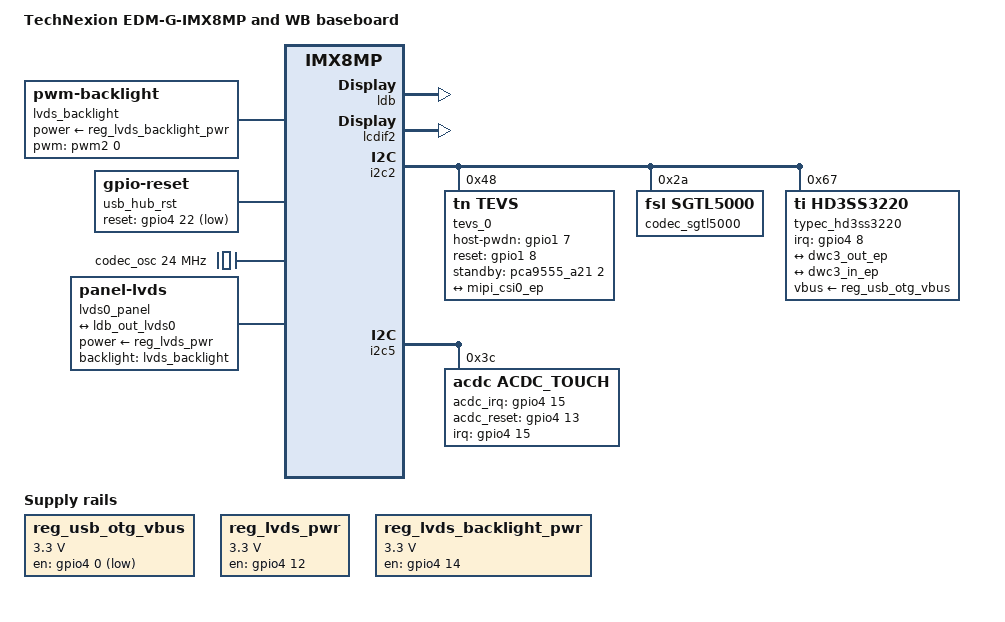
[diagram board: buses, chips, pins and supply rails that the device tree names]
// SPDX-License-Identifier: (GPL-2.0+ OR MIT)
/*
 * Copyright 2020 Technexion Ltd.
 *
 * Author: Ray Chang <ray.chang@technexion.com>
 *
 */

/dts-v1/;
#include <dt-bindings/phy/phy-imx8-pcie.h>
#include "imx8mp-edm-g.dtsi"

/ {
	model = "TechNexion EDM-G-IMX8MP and WB baseboard";
	compatible = "fsl,imx8mp-edmg", "fsl,imx8mp";

	reg_usb_otg_vbus: usb_otg_vbus {
		pinctrl-names = "default";
		pinctrl-0 = <&pinctrl_otg_vbus>;
		compatible = "regulator-fixed";
		regulator-name = "usb_otg_vbus";
		regulator-min-microvolt = <3300000>;
		regulator-max-microvolt = <3300000>;
		gpio = <&gpio4 0 GPIO_ACTIVE_LOW>;
		enable-active-low;
	};

	reg_lvds_pwr: regulator_lvdspwr {
		pinctrl-names = "default";
		pinctrl-0 = <&pinctrl_lvds0_pwr>;
		compatible = "regulator-fixed";
		regulator-name = "lvds0_vdden";
		regulator-min-microvolt = <3300000>;
		regulator-max-microvolt = <3300000>;
		gpio = <&gpio4 12 GPIO_ACTIVE_HIGH>;
		enable-active-high;
		status = "okay";
	};

	reg_lvds_backlight_pwr: regulator_lvdsblpwr {
		pinctrl-names = "default";
		pinctrl-0 = <&pinctrl_lvds0_backlight_pwr>;
		compatible = "regulator-fixed";
		regulator-name = "lvds0_bl_en";
		regulator-min-microvolt = <3300000>;
		regulator-max-microvolt = <3300000>;
		gpio = <&gpio4 14 GPIO_ACTIVE_HIGH>;
		enable-active-high;
		regulator-always-on;
		status = "okay";
	};

	lvds_backlight: lvds_backlight {
		compatible = "pwm-backlight";
		pwms = <&pwm2 0 50000 0>;
        brightness-levels = <0 1 2 3 4 5 6 7 8 9 10 11 12 13 14 15 16 17 18 19 20
                             21 22 23 24 25 26 27 28 29 30 31 32 33 34 35 36 37 38
                             39 40 41 42 43 44 45 46 47 48 49 50 51 52 53 54 55 56
                             57 58 59 60 61 62 63 64 65 66 67 68 69 70 71 72 73 74
                             75 76 77 78 79 80 81 82 83 84 85 86 87 88 89 90 91 92
                             93 94 95 96 97 98 99 100>;
        default-brightness-level = <80>;
    	power-supply = <&reg_lvds_backlight_pwr>;

		status = "okay";
	};

	//EDM only
	usb_hub_rst: usb_hub_rst {
		compatible = "gpio-reset";
		pinctrl-names = "default";
		pinctrl-0 = <&pinctrl_usb_hub_ctrl>;
		reset-gpios = <&gpio4 22 GPIO_ACTIVE_LOW>;
		reset-delay-us = <10>;
		#reset-cells = <0>;
	};

	sound_sgtl5000 {
			compatible = "fsl,sgtl5000", "fsl,imx-audio-sgtl5000";
			model = "sgtl5000";
			codec-master;
			ssi-controller = <&sai2>;
			audio-codec = <&codec_sgtl5000>;
			audio-routing =
					"MIC_IN", "Mic Jack",
					"Mic Jack", "Mic Bias",
					"Headphone Jack", "HP_OUT";
			no-audmux;
	};


	clocks {
		codec_osc: aud_mclk {
			compatible = "fixed-clock";
			#clock-cells = <0>;
			clock-frequency = <24000000>;
			clock-output-names = "wm8960-mclk";
		};
	};


	lvds0_panel: lvds_panel  {
		compatible = "panel-lvds", "fsl,dual-channel", "auo,g156han02.3";
		status = "okay";

		backlight = <&lvds_backlight>;
		power-supply = <&reg_lvds_pwr>;
        
		data-mapping = "vesa-24";
		
		panel-type   = "lvds";
        width-mm = <364>;
        height-mm = <194>;

		split-mode;

		panel-timing {
			clock-frequency = <141750000>;
			hactive = <1920>;
			vactive = <1080>;
			hfront-porch = <40>;
			hback-porch = <100>;
			hsync-len = <10>;	
			vfront-porch = <3>;			
			vback-porch = <30>;
			vsync-len = <2>;	

			hsync-active = <0>;
			vsync-active = <0>;
			de-active = <1>;
			pixelclk-active = <1>;
		};		

		port {
			lvds0_panel_in: endpoint {
				remote-endpoint = <&ldb_out_lvds0>;
			};
		};
	};
};

&ldb {
	status = "okay";

    fsl,dual-channel;

	lvds-channel@0 {
		reg = <0>;
		panel = <&lvds0_panel>; 

		#address-cells = <1>;
		#size-cells = <0>;
		fsl,data-mapping = "spwg";
		fsl,data-width = <24>;
		status = "okay";

		port@1 {
			reg = <1>;

			ldb_out_lvds0: endpoint {
				remote-endpoint = <&lvds0_panel_in>;
			};
		};
	};
};

&lcdif1 {
	status = "disabled";
};

&lcdif2 
{
	status = "okay";
};

//hdmi
&lcdif3 {
	status = "disabled";
};

&gpio1 {
	pinctrl-0 = <&pinctrl_gpio1>;
	gpio-line-names =	\
		"", "PCIE_RST", "", "PMIC_nINT", "", "", "", "csi0_pwn",	\
		"csi0_rst", "ETH_Reset", "", "", "ETH_INT", "PCIE_CLKREQ", "", "",	\
		"", "", "", "", "", "", "", "",	\
		"", "", "", "", "", "", "", "";
};

&gpio2 {
	pinctrl-0 = <&pinctrl_gpio2>;
	gpio-line-names =	\
		"", "", "", "", "", "", "", "",	\
		"", "", "", "", "CD", "", "", "",	\
		"", "", "", "VSD_3V3", "", "", "", "",	\
		"", "", "", "", "", "", "", "";
};

&gpio3 {
	pinctrl-0 = <&pinctrl_gpio3>;
	gpio-line-names =	\
		"", "", "", "", "", "", "", "",	\
		"", "", "", "", "", "", "", "",	\
		"", "", "", "", "", "", "", "",	\
		"", "", "", "", "", "", "", "";
};

&gpio4 {
	pinctrl-0 = <&pinctrl_gpio4>;
	gpio-line-names =	\
		"USB_OTG_PWR_EN", "", "", "", "", "", "", "",	\
		"", "", "", "", "LVDS0_VDDEN", "TOUCH_RST", "LVDS0_BL_EN", "TOUCH_INT",	\
		"DSI_BL_EN", "DSI_VDDEN", "", "", "", "PCIE_WAKE", "", "",	\
		"", "", "", "", "", "", "", "";
};

&gpio5 {
	pinctrl-0 = <&pinctrl_gpio5>;
	gpio-line-names =	\
		"", "", "", "", "", "", "", "",	\
		"", "", "", "", "", "", "", "",	\
		"", "", "", "", "", "", "", "",	\
		"", "", "", "", "", "", "", "";
};

&mipi_csi_0 {
	#address-cells = <1>;
	#size-cells = <0>;
	status = "disabled";

	port@0 {
		reg = <0>;
		mipi_csi0_ep: endpoint {
			remote-endpoint = <&tevs_0_ep>;
			data-lanes = <4>;
			csis-hs-settle = <19>;
			csis-clk-settle = <2>;
			csis-wclk;
		};
	};
};

&i2c2 {
	#address-cells = <1>;
	#size-cells = <0>;

	status = "okay";

	tevs_0: tevs@48 {
			compatible = "tn,tevs";
			reg = <0x48>;

			pinctrl-names = "default";
			pinctrl-0 = <&pinctrl_csi0_pwn>, <&pinctrl_csi0_rst>;
			host-pwdn-gpios = <&gpio1 7 GPIO_ACTIVE_HIGH>;
			reset-gpios = <&gpio1 8 GPIO_ACTIVE_HIGH>;
			standby-gpios = <&pca9555_a21 2 GPIO_ACTIVE_HIGH>;
			data-lanes = <4>;
			data-frequency = <800>;
			continuous-clock = <0>;
			status = "okay";

			port {
				tevs_0_ep: endpoint {
					remote-endpoint = <&mipi_csi0_ep>;
				};
			};
		};

	codec_sgtl5000: sgtl5000@a {
		compatible = "fsl,sgtl5000";
		reg = <0x2a>;
		clocks = <&audio_blk_ctrl IMX8MP_CLK_AUDIOMIX_SAI2_MCLK1>;
		clock-names = "mclk";
		pinctrl-names = "default";
		pinctrl-0 = <&pinctrl_sai2_mclk>;
		assigned-clocks = <&clk IMX8MM_CLK_SAI2>;
		assigned-clock-parents = <&clk IMX8MM_AUDIO_PLL1_OUT>;
		assigned-clock-rates = <24576000>; //12288000 ????
		status = "okay"
	};

	typec_hd3ss3220: hd3ss3220@67 {
		compatible = "ti,hd3ss3220";
		interrupts-extended = <&gpio4 8 IRQ_TYPE_LEVEL_LOW>;
		pinctrl-names = "default";
		pinctrl-0 = <&pinctrl_hd3ss3220_irq>;
		vbus-supply = <&reg_usb_otg_vbus>;
		reg = <0x67>;

		ports {
			#address-cells = <1>;
			#size-cells = <0>;

			port@0 {
				reg = <0>;
				hd3ss3220_in_ep: endpoint {
					remote-endpoint = <&dwc3_out_ep>;
				};
			};

			port@1 {
				reg = <1>;
				hd3ss3220_out_ep: endpoint {
					remote-endpoint = <&dwc3_in_ep>;
				};
			};
		};
	};
};

&i2c5 {
	#address-cells = <1>;
	#size-cells = <0>;
	status = "okay";

	acdc@3c {
		compatible = "acdc,acdc_touch";		
		reg = <0x3c>;
		interrupt-parent = <&gpio4>;
		interrupts = <15 IRQ_TYPE_LEVEL_LOW>;
		acdc_irq_gpio = <&gpio4 15 IRQ_TYPE_EDGE_FALLING>;
		acdc_reset_gpio = <&gpio4 13 GPIO_ACTIVE_HIGH>;
		acdc_x_resolution = <1920>;
		acdc_y_resolution = <1080>;
		status = "okay";
	};
};

